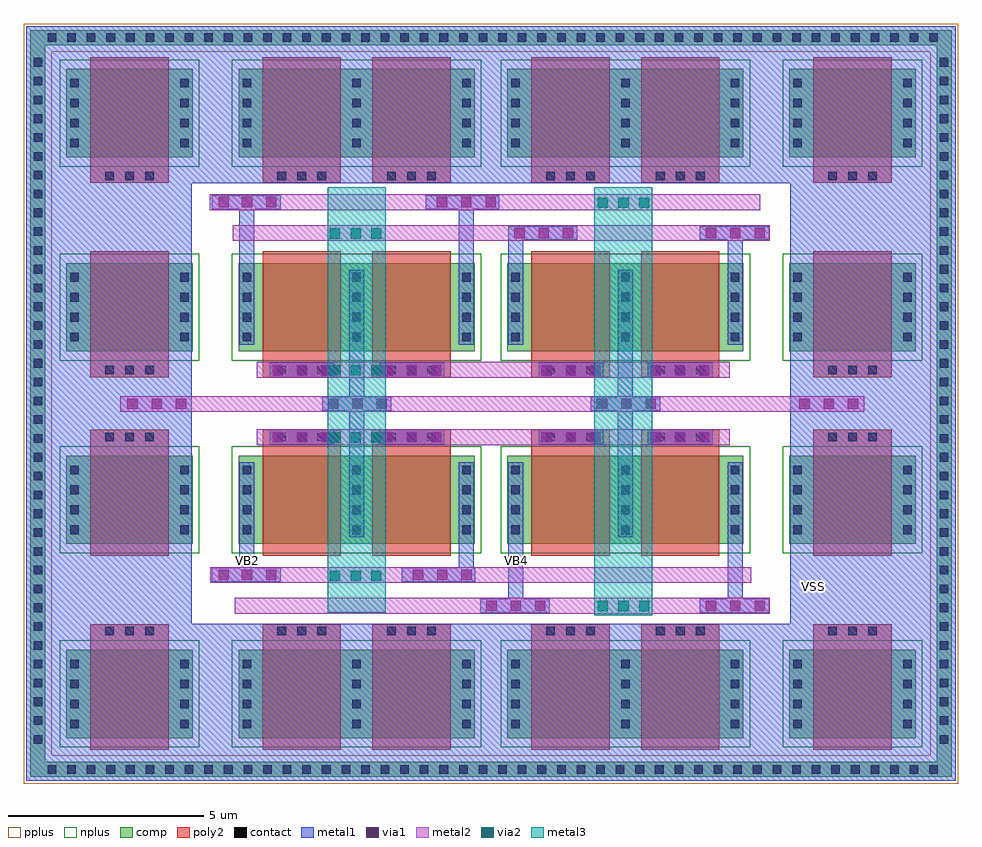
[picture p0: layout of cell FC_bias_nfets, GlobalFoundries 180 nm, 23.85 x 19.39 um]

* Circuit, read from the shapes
.subckt FC_bias_nfets VB2 VB4 VSS
XM1 VSS VSS VSS VSS nfet_03v3 w=2.25u l=2u m=16
XM2 VSS VB2 VB2 VSS nfet_03v3 w=2.25u l=2u m=4
XM3 VSS VB2 VB4 VSS nfet_03v3 w=2.25u l=2u m=4
.ends

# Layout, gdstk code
from math import pi, radians
import gdstk
lib = gdstk.Library(unit=1e-6, precision=1e-09)
def R(c, l, rs):  # rectangles x0, y0, x1, y1
    for r in rs: c.add(gdstk.rectangle(r[:2], r[2:], *l))
def A(c, l, x, y, w, h, nx, ny, dx, dy):  # array of equal rectangles
    R(c, l, [(x+i*dx, y+j*dy, x+i*dx+w, y+j*dy+h) for i in range(nx) for j in range(ny)])
comp = (22, 0)
poly2 = (30, 0)
pplus = (31, 0)
nplus = (32, 0)
contact = (33, 0)
metal1 = (34, 0)
via1 = (35, 0)
metal2 = (36, 0)
via2 = (38, 0)
metal3 = (42, 0)

nfet = lib.new_cell('nfet')
R(nfet, comp, [(-0.42,0,0,2.25), (0,0,2.38,2.25), (2.38,0,2.8,2.25)])
R(nfet, poly2, [(0.19,-0.3,2.19,2.55), (0.19,2.55,2.19,2.91)])
R(nfet, nplus, [(-0.59,-0.24,2.97,2.49)])
A(nfet, contact, -0.32, 0.25, 0.22, 0.22, 1, 4, 0, 0.51)
A(nfet, contact, 2.48, 0.25, 0.22, 0.22, 1, 4, 0, 0.51)
A(nfet, contact, 0.57, 2.62, 0.22, 0.22, 3, 1, 0.51, 0)
R(nfet, metal1, [(-0.4,0.17,-0.02,2.08), (2.4,0.17,2.78,2.08), (0.49,2.54,1.89,2.92)])

fc_bias_nfets = lib.new_cell('FC_bias_nfets')
R(fc_bias_nfets, comp, [(-55.115,0.065,-31.605,0.445), (-55.115,0.17,-54.735,19.065), (-31.985,0.17,-31.605,18.905), (-55.115,18.74,-31.605,19.12)])
R(fc_bias_nfets, pplus, [(-55.285,-0.105,-31.435,0.615), (-55.285,0.415,-54.565,19.195), (-32.155,0.415,-31.435,19.21), (-55.285,18.57,-31.435,19.29)])
A(fc_bias_nfets, contact, -54.675, 0.145, 0.22, 0.22, 46, 2, 0.5, 18.675)
A(fc_bias_nfets, contact, -55.035, 0.91, 0.22, 0.22, 1, 37, 0, 0.48)
A(fc_bias_nfets, contact, -31.905, 0.91, 0.22, 0.22, 1, 37, 0, 0.48)
R(fc_bias_nfets, metal1, [(-55.22,-0.04,-50.995,19.215), (-35.725,-0.04,-31.5,19.215), (-55.2,-0.03,-33.51,3.975), (-43.63,4.25,-41.865,4.605), (-43.63,4.25,-41.865,4.605), (-42.92,4.25,-42.54,5.985), (-42.92,4.25,-42.54,6.275), (-38.03,4.25,-36.265,4.605), (-38.03,4.25,-36.265,4.605), (-37.32,4.25,-36.94,5.985), (-37.32,4.25,-36.94,6.245), (-50.49,5.04,-48.725,5.395), (-50.49,5.04,-48.725,5.395), (-49.78,5.04,-49.4,6.775), (-49.78,5.04,-49.4,6.775), (-45.635,5.04,-43.765,5.395), (-44.18,5.04,-43.8,6.775), (-44.18,5.04,-43.8,6.775), (-46.98,7.875,-46.6,9.635), (-40.12,7.875,-39.74,9.635), (-49.005,8.55,-47.355,8.93), (-46.2,8.55,-44.55,8.93), (-42.145,8.55,-40.495,8.93), (-39.355,8.55,-37.705,8.93), (-52.795,9.405,-51.03,9.76), (-52.795,9.405,-51.03,9.76), (-47.67,9.405,-45.905,9.76), (-47.67,9.405,-45.905,9.76), (-40.81,9.405,-39.045,9.76), (-40.81,9.405,-39.045,9.76), (-35.645,9.405,-33.88,9.76), (-35.645,9.405,-33.88,9.76), (-40.12,9.475,-39.74,11.235), (-46.98,9.57,-46.6,11.33), (-49.005,10.255,-47.355,10.635), (-46.2,10.255,-44.55,10.635), (-42.145,10.255,-40.495,10.635), (-39.355,10.255,-37.705,10.635), (-37.32,12.025,-36.94,14.02), (-42.92,12.215,-42.54,14.095), (-44.18,12.88,-43.8,14.615), (-49.78,12.91,-49.4,14.645), (-42.92,13.765,-41.155,14.12), (-42.92,13.765,-41.155,14.12), (-38.03,13.765,-36.265,14.12), (-38.03,13.765,-36.265,14.12), (-50.49,14.555,-48.725,14.91), (-50.49,14.555,-48.725,14.91), (-45.02,14.555,-43.15,14.91), (-55.2,15.21,-33.51,19.215)])
R(fc_bias_nfets, via1, [(-43.475,4.3,-43.215,4.56), (-43.475,4.3,-43.215,4.56), (-43.475,4.3,-43.215,4.56), (-43.475,4.3,-43.215,4.56), (-43.475,4.3,-43.215,4.56), (-43.475,4.3,-43.215,4.56), (-43.475,4.3,-43.215,4.56), (-43.475,4.3,-43.215,4.56), (-43.475,4.3,-43.215,4.56), (-43.475,4.3,-43.215,4.56), (-43.475,4.3,-43.215,4.56), (-43.475,4.3,-43.215,4.56), (-43.475,4.3,-43.215,4.56), (-43.475,4.3,-43.215,4.56), (-43.475,4.3,-43.215,4.56), (-43.475,4.3,-43.215,4.56), (-42.855,4.3,-42.595,4.56), (-42.855,4.3,-42.595,4.56), (-42.855,4.3,-42.595,4.56), (-42.855,4.3,-42.595,4.56), (-42.855,4.3,-42.595,4.56), (-42.855,4.3,-42.595,4.56), (-42.855,4.3,-42.595,4.56), (-42.855,4.3,-42.595,4.56), (-42.855,4.3,-42.595,4.56), (-42.855,4.3,-42.595,4.56), (-42.855,4.3,-42.595,4.56), (-42.855,4.3,-42.595,4.56), (-42.855,4.3,-42.595,4.56), (-42.855,4.3,-42.595,4.56), (-42.855,4.3,-42.595,4.56), (-42.855,4.3,-42.595,4.56), (-42.235,4.3,-41.975,4.56), (-42.235,4.3,-41.975,4.56), (-42.235,4.3,-41.975,4.56), (-42.235,4.3,-41.975,4.56), (-42.235,4.3,-41.975,4.56), (-42.235,4.3,-41.975,4.56), (-42.235,4.3,-41.975,4.56), (-42.235,4.3,-41.975,4.56), (-42.235,4.3,-41.975,4.56), (-42.235,4.3,-41.975,4.56), (-42.235,4.3,-41.975,4.56), (-42.235,4.3,-41.975,4.56), (-42.235,4.3,-41.975,4.56), (-42.235,4.3,-41.975,4.56), (-42.235,4.3,-41.975,4.56), (-42.235,4.3,-41.975,4.56), (-37.875,4.3,-37.615,4.56), (-37.875,4.3,-37.615,4.56), (-37.875,4.3,-37.615,4.56), (-37.875,4.3,-37.615,4.56), (-37.875,4.3,-37.615,4.56), (-37.875,4.3,-37.615,4.56), (-37.875,4.3,-37.615,4.56), (-37.875,4.3,-37.615,4.56), (-37.875,4.3,-37.615,4.56), (-37.875,4.3,-37.615,4.56), (-37.875,4.3,-37.615,4.56), (-37.875,4.3,-37.615,4.56), (-37.875,4.3,-37.615,4.56), (-37.875,4.3,-37.615,4.56), (-37.875,4.3,-37.615,4.56), (-37.875,4.3,-37.615,4.56), (-37.255,4.3,-36.995,4.56), (-37.255,4.3,-36.995,4.56), (-37.255,4.3,-36.995,4.56), (-37.255,4.3,-36.995,4.56), (-37.255,4.3,-36.995,4.56), (-37.255,4.3,-36.995,4.56), (-37.255,4.3,-36.995,4.56), (-37.255,4.3,-36.995,4.56), (-37.255,4.3,-36.995,4.56), (-37.255,4.3,-36.995,4.56), (-37.255,4.3,-36.995,4.56), (-37.255,4.3,-36.995,4.56), (-37.255,4.3,-36.995,4.56), (-37.255,4.3,-36.995,4.56), (-37.255,4.3,-36.995,4.56), (-37.255,4.3,-36.995,4.56), (-36.635,4.3,-36.375,4.56), (-36.635,4.3,-36.375,4.56), (-36.635,4.3,-36.375,4.56), (-36.635,4.3,-36.375,4.56), (-36.635,4.3,-36.375,4.56), (-36.635,4.3,-36.375,4.56), (-36.635,4.3,-36.375,4.56), (-36.635,4.3,-36.375,4.56), (-36.635,4.3,-36.375,4.56), (-36.635,4.3,-36.375,4.56), (-36.635,4.3,-36.375,4.56), (-36.635,4.3,-36.375,4.56), (-36.635,4.3,-36.375,4.56), (-36.635,4.3,-36.375,4.56), (-36.635,4.3,-36.375,4.56), (-36.635,4.3,-36.375,4.56), (-50.31,5.09,-50.05,5.35), (-50.31,5.09,-50.05,5.35), (-50.31,5.09,-50.05,5.35), (-50.31,5.09,-50.05,5.35), (-50.31,5.09,-50.05,5.35), (-50.31,5.09,-50.05,5.35), (-50.31,5.09,-50.05,5.35), (-50.31,5.09,-50.05,5.35), (-50.31,5.09,-50.05,5.35), (-50.31,5.09,-50.05,5.35), (-50.31,5.09,-50.05,5.35), (-50.31,5.09,-50.05,5.35), (-50.31,5.09,-50.05,5.35), (-50.31,5.09,-50.05,5.35), (-50.31,5.09,-50.05,5.35), (-50.31,5.09,-50.05,5.35), (-49.715,5.09,-49.455,5.35), (-49.715,5.09,-49.455,5.35), (-49.715,5.09,-49.455,5.35), (-49.715,5.09,-49.455,5.35), (-49.715,5.09,-49.455,5.35), (-49.715,5.09,-49.455,5.35), (-49.715,5.09,-49.455,5.35), (-49.715,5.09,-49.455,5.35), (-49.715,5.09,-49.455,5.35), (-49.715,5.09,-49.455,5.35), (-49.715,5.09,-49.455,5.35), (-49.715,5.09,-49.455,5.35), (-49.715,5.09,-49.455,5.35), (-49.715,5.09,-49.455,5.35), (-49.715,5.09,-49.455,5.35), (-49.715,5.09,-49.455,5.35), (-49.095,5.09,-48.835,5.35), (-49.095,5.09,-48.835,5.35), (-49.095,5.09,-48.835,5.35), (-49.095,5.09,-48.835,5.35), (-49.095,5.09,-48.835,5.35), (-49.095,5.09,-48.835,5.35), (-49.095,5.09,-48.835,5.35), (-49.095,5.09,-48.835,5.35), (-49.095,5.09,-48.835,5.35), (-49.095,5.09,-48.835,5.35), (-49.095,5.09,-48.835,5.35), (-49.095,5.09,-48.835,5.35), (-49.095,5.09,-48.835,5.35), (-49.095,5.09,-48.835,5.35), (-49.095,5.09,-48.835,5.35), (-49.095,5.09,-48.835,5.35), (-45.355,5.09,-45.095,5.35), (-44.735,5.09,-44.475,5.35), (-44.735,5.09,-44.475,5.35), (-44.735,5.09,-44.475,5.35), (-44.735,5.09,-44.475,5.35), (-44.735,5.09,-44.475,5.35), (-44.735,5.09,-44.475,5.35), (-44.735,5.09,-44.475,5.35), (-44.735,5.09,-44.475,5.35), (-44.735,5.09,-44.475,5.35), (-44.735,5.09,-44.475,5.35), (-44.735,5.09,-44.475,5.35), (-44.735,5.09,-44.475,5.35), (-44.735,5.09,-44.475,5.35), (-44.735,5.09,-44.475,5.35), (-44.735,5.09,-44.475,5.35), (-44.735,5.09,-44.475,5.35), (-44.115,5.09,-43.855,5.35), (-44.115,5.09,-43.855,5.35), (-44.115,5.09,-43.855,5.35), (-44.115,5.09,-43.855,5.35), (-44.115,5.09,-43.855,5.35), (-44.115,5.09,-43.855,5.35), (-44.115,5.09,-43.855,5.35), (-44.115,5.09,-43.855,5.35), (-44.115,5.09,-43.855,5.35), (-44.115,5.09,-43.855,5.35), (-44.115,5.09,-43.855,5.35), (-44.115,5.09,-43.855,5.35), (-44.115,5.09,-43.855,5.35), (-44.115,5.09,-43.855,5.35), (-44.115,5.09,-43.855,5.35), (-44.115,5.09,-43.855,5.35), (-48.935,8.6,-48.675,8.86), (-48.935,8.6,-48.675,8.86), (-48.935,8.6,-48.675,8.86), (-48.935,8.6,-48.675,8.86), (-48.935,8.6,-48.675,8.86), (-48.935,8.6,-48.675,8.86), (-48.935,8.6,-48.675,8.86), (-48.935,8.6,-48.675,8.86), (-48.315,8.6,-48.055,8.86), (-48.315,8.6,-48.055,8.86), (-48.315,8.6,-48.055,8.86), (-48.315,8.6,-48.055,8.86), (-48.315,8.6,-48.055,8.86), (-48.315,8.6,-48.055,8.86), (-48.315,8.6,-48.055,8.86), (-48.315,8.6,-48.055,8.86), (-47.695,8.6,-47.435,8.86), (-47.695,8.6,-47.435,8.86), (-47.695,8.6,-47.435,8.86), (-47.695,8.6,-47.435,8.86), (-47.695,8.6,-47.435,8.86), (-47.695,8.6,-47.435,8.86), (-47.695,8.6,-47.435,8.86), (-47.695,8.6,-47.435,8.86), (-46.13,8.6,-45.87,8.86), (-46.13,8.6,-45.87,8.86), (-46.13,8.6,-45.87,8.86), (-46.13,8.6,-45.87,8.86), (-46.13,8.6,-45.87,8.86), (-46.13,8.6,-45.87,8.86), (-46.13,8.6,-45.87,8.86), (-46.13,8.6,-45.87,8.86), (-45.51,8.6,-45.25,8.86), (-45.51,8.6,-45.25,8.86), (-45.51,8.6,-45.25,8.86), (-45.51,8.6,-45.25,8.86), (-45.51,8.6,-45.25,8.86), (-45.51,8.6,-45.25,8.86), (-45.51,8.6,-45.25,8.86), (-45.51,8.6,-45.25,8.86), (-44.89,8.6,-44.63,8.86), (-44.89,8.6,-44.63,8.86), (-44.89,8.6,-44.63,8.86), (-44.89,8.6,-44.63,8.86), (-44.89,8.6,-44.63,8.86), (-44.89,8.6,-44.63,8.86), (-44.89,8.6,-44.63,8.86), (-44.89,8.6,-44.63,8.86), (-42.075,8.6,-41.815,8.86), (-42.075,8.6,-41.815,8.86), (-42.075,8.6,-41.815,8.86), (-42.075,8.6,-41.815,8.86), (-42.075,8.6,-41.815,8.86), (-42.075,8.6,-41.815,8.86), (-42.075,8.6,-41.815,8.86), (-42.075,8.6,-41.815,8.86), (-41.455,8.6,-41.195,8.86), (-41.455,8.6,-41.195,8.86), (-41.455,8.6,-41.195,8.86), (-41.455,8.6,-41.195,8.86), (-41.455,8.6,-41.195,8.86), (-41.455,8.6,-41.195,8.86), (-41.455,8.6,-41.195,8.86), (-41.455,8.6,-41.195,8.86), (-40.835,8.6,-40.575,8.86), (-40.835,8.6,-40.575,8.86), (-40.835,8.6,-40.575,8.86), (-40.835,8.6,-40.575,8.86), (-40.835,8.6,-40.575,8.86), (-40.835,8.6,-40.575,8.86), (-40.835,8.6,-40.575,8.86), (-40.835,8.6,-40.575,8.86), (-39.285,8.6,-39.025,8.86), (-39.285,8.6,-39.025,8.86), (-39.285,8.6,-39.025,8.86), (-39.285,8.6,-39.025,8.86), (-39.285,8.6,-39.025,8.86), (-39.285,8.6,-39.025,8.86), (-39.285,8.6,-39.025,8.86), (-39.285,8.6,-39.025,8.86), (-38.665,8.6,-38.405,8.86), (-38.665,8.6,-38.405,8.86), (-38.665,8.6,-38.405,8.86), (-38.665,8.6,-38.405,8.86), (-38.665,8.6,-38.405,8.86), (-38.665,8.6,-38.405,8.86), (-38.665,8.6,-38.405,8.86), (-38.665,8.6,-38.405,8.86), (-38.045,8.6,-37.785,8.86), (-38.045,8.6,-37.785,8.86), (-38.045,8.6,-37.785,8.86), (-38.045,8.6,-37.785,8.86), (-38.045,8.6,-37.785,8.86), (-38.045,8.6,-37.785,8.86), (-38.045,8.6,-37.785,8.86), (-38.045,8.6,-37.785,8.86), (-52.64,9.455,-52.38,9.715), (-52.64,9.455,-52.38,9.715), (-52.64,9.455,-52.38,9.715), (-52.64,9.455,-52.38,9.715), (-52.64,9.455,-52.38,9.715), (-52.64,9.455,-52.38,9.715), (-52.64,9.455,-52.38,9.715), (-52.64,9.455,-52.38,9.715), (-52.64,9.455,-52.38,9.715), (-52.64,9.455,-52.38,9.715), (-52.64,9.455,-52.38,9.715), (-52.64,9.455,-52.38,9.715), (-52.64,9.455,-52.38,9.715), (-52.64,9.455,-52.38,9.715), (-52.64,9.455,-52.38,9.715), (-52.64,9.455,-52.38,9.715), (-52.02,9.455,-51.76,9.715), (-52.02,9.455,-51.76,9.715), (-52.02,9.455,-51.76,9.715), (-52.02,9.455,-51.76,9.715), (-52.02,9.455,-51.76,9.715), (-52.02,9.455,-51.76,9.715), (-52.02,9.455,-51.76,9.715), (-52.02,9.455,-51.76,9.715), (-52.02,9.455,-51.76,9.715), (-52.02,9.455,-51.76,9.715), (-52.02,9.455,-51.76,9.715), (-52.02,9.455,-51.76,9.715), (-52.02,9.455,-51.76,9.715), (-52.02,9.455,-51.76,9.715), (-52.02,9.455,-51.76,9.715), (-52.02,9.455,-51.76,9.715), (-51.4,9.455,-51.14,9.715), (-51.4,9.455,-51.14,9.715), (-51.4,9.455,-51.14,9.715), (-51.4,9.455,-51.14,9.715), (-51.4,9.455,-51.14,9.715), (-51.4,9.455,-51.14,9.715), (-51.4,9.455,-51.14,9.715), (-51.4,9.455,-51.14,9.715), (-51.4,9.455,-51.14,9.715), (-51.4,9.455,-51.14,9.715), (-51.4,9.455,-51.14,9.715), (-51.4,9.455,-51.14,9.715), (-51.4,9.455,-51.14,9.715), (-51.4,9.455,-51.14,9.715), (-51.4,9.455,-51.14,9.715), (-51.4,9.455,-51.14,9.715), (-47.515,9.455,-47.255,9.715), (-47.515,9.455,-47.255,9.715), (-47.515,9.455,-47.255,9.715), (-47.515,9.455,-47.255,9.715), (-47.515,9.455,-47.255,9.715), (-47.515,9.455,-47.255,9.715), (-47.515,9.455,-47.255,9.715), (-47.515,9.455,-47.255,9.715), (-47.515,9.455,-47.255,9.715), (-47.515,9.455,-47.255,9.715), (-47.515,9.455,-47.255,9.715), (-47.515,9.455,-47.255,9.715), (-47.515,9.455,-47.255,9.715), (-47.515,9.455,-47.255,9.715), (-47.515,9.455,-47.255,9.715), (-47.515,9.455,-47.255,9.715), (-46.895,9.455,-46.635,9.715), (-46.895,9.455,-46.635,9.715), (-46.895,9.455,-46.635,9.715), (-46.895,9.455,-46.635,9.715), (-46.895,9.455,-46.635,9.715), (-46.895,9.455,-46.635,9.715), (-46.895,9.455,-46.635,9.715), (-46.895,9.455,-46.635,9.715), (-46.895,9.455,-46.635,9.715), (-46.895,9.455,-46.635,9.715), (-46.895,9.455,-46.635,9.715), (-46.895,9.455,-46.635,9.715), (-46.895,9.455,-46.635,9.715), (-46.895,9.455,-46.635,9.715), (-46.895,9.455,-46.635,9.715), (-46.895,9.455,-46.635,9.715), (-46.275,9.455,-46.015,9.715), (-46.275,9.455,-46.015,9.715), (-46.275,9.455,-46.015,9.715), (-46.275,9.455,-46.015,9.715), (-46.275,9.455,-46.015,9.715), (-46.275,9.455,-46.015,9.715), (-46.275,9.455,-46.015,9.715), (-46.275,9.455,-46.015,9.715), (-46.275,9.455,-46.015,9.715), (-46.275,9.455,-46.015,9.715), (-46.275,9.455,-46.015,9.715), (-46.275,9.455,-46.015,9.715), (-46.275,9.455,-46.015,9.715), (-46.275,9.455,-46.015,9.715), (-46.275,9.455,-46.015,9.715), (-46.275,9.455,-46.015,9.715), (-40.655,9.455,-40.395,9.715), (-40.655,9.455,-40.395,9.715), (-40.655,9.455,-40.395,9.715), (-40.655,9.455,-40.395,9.715), (-40.655,9.455,-40.395,9.715), (-40.655,9.455,-40.395,9.715), (-40.655,9.455,-40.395,9.715), (-40.655,9.455,-40.395,9.715), (-40.655,9.455,-40.395,9.715), (-40.655,9.455,-40.395,9.715), (-40.655,9.455,-40.395,9.715), (-40.655,9.455,-40.395,9.715), (-40.655,9.455,-40.395,9.715), (-40.655,9.455,-40.395,9.715), (-40.655,9.455,-40.395,9.715), (-40.655,9.455,-40.395,9.715), (-40.035,9.455,-39.775,9.715), (-40.035,9.455,-39.775,9.715), (-40.035,9.455,-39.775,9.715), (-40.035,9.455,-39.775,9.715), (-40.035,9.455,-39.775,9.715), (-40.035,9.455,-39.775,9.715), (-40.035,9.455,-39.775,9.715), (-40.035,9.455,-39.775,9.715), (-40.035,9.455,-39.775,9.715), (-40.035,9.455,-39.775,9.715), (-40.035,9.455,-39.775,9.715), (-40.035,9.455,-39.775,9.715), (-40.035,9.455,-39.775,9.715), (-40.035,9.455,-39.775,9.715), (-40.035,9.455,-39.775,9.715), (-40.035,9.455,-39.775,9.715), (-39.415,9.455,-39.155,9.715), (-39.415,9.455,-39.155,9.715), (-39.415,9.455,-39.155,9.715), (-39.415,9.455,-39.155,9.715), (-39.415,9.455,-39.155,9.715), (-39.415,9.455,-39.155,9.715), (-39.415,9.455,-39.155,9.715), (-39.415,9.455,-39.155,9.715), (-39.415,9.455,-39.155,9.715), (-39.415,9.455,-39.155,9.715), (-39.415,9.455,-39.155,9.715), (-39.415,9.455,-39.155,9.715), (-39.415,9.455,-39.155,9.715), (-39.415,9.455,-39.155,9.715), (-39.415,9.455,-39.155,9.715), (-39.415,9.455,-39.155,9.715), (-35.49,9.455,-35.23,9.715), (-35.49,9.455,-35.23,9.715), (-35.49,9.455,-35.23,9.715), (-35.49,9.455,-35.23,9.715), (-35.49,9.455,-35.23,9.715), (-35.49,9.455,-35.23,9.715), (-35.49,9.455,-35.23,9.715), (-35.49,9.455,-35.23,9.715), (-35.49,9.455,-35.23,9.715), (-35.49,9.455,-35.23,9.715), (-35.49,9.455,-35.23,9.715), (-35.49,9.455,-35.23,9.715), (-35.49,9.455,-35.23,9.715), (-35.49,9.455,-35.23,9.715), (-35.49,9.455,-35.23,9.715), (-35.49,9.455,-35.23,9.715), (-34.87,9.455,-34.61,9.715), (-34.87,9.455,-34.61,9.715), (-34.87,9.455,-34.61,9.715), (-34.87,9.455,-34.61,9.715), (-34.87,9.455,-34.61,9.715), (-34.87,9.455,-34.61,9.715), (-34.87,9.455,-34.61,9.715), (-34.87,9.455,-34.61,9.715), (-34.87,9.455,-34.61,9.715), (-34.87,9.455,-34.61,9.715), (-34.87,9.455,-34.61,9.715), (-34.87,9.455,-34.61,9.715), (-34.87,9.455,-34.61,9.715), (-34.87,9.455,-34.61,9.715), (-34.87,9.455,-34.61,9.715), (-34.87,9.455,-34.61,9.715), (-34.25,9.455,-33.99,9.715), (-34.25,9.455,-33.99,9.715), (-34.25,9.455,-33.99,9.715), (-34.25,9.455,-33.99,9.715), (-34.25,9.455,-33.99,9.715), (-34.25,9.455,-33.99,9.715), (-34.25,9.455,-33.99,9.715), (-34.25,9.455,-33.99,9.715), (-34.25,9.455,-33.99,9.715), (-34.25,9.455,-33.99,9.715), (-34.25,9.455,-33.99,9.715), (-34.25,9.455,-33.99,9.715), (-34.25,9.455,-33.99,9.715), (-34.25,9.455,-33.99,9.715), (-34.25,9.455,-33.99,9.715), (-34.25,9.455,-33.99,9.715), (-48.935,10.305,-48.675,10.565), (-48.935,10.305,-48.675,10.565), (-48.935,10.305,-48.675,10.565), (-48.935,10.305,-48.675,10.565), (-48.935,10.305,-48.675,10.565), (-48.935,10.305,-48.675,10.565), (-48.935,10.305,-48.675,10.565), (-48.935,10.305,-48.675,10.565), (-48.315,10.305,-48.055,10.565), (-48.315,10.305,-48.055,10.565), (-48.315,10.305,-48.055,10.565), (-48.315,10.305,-48.055,10.565), (-48.315,10.305,-48.055,10.565), (-48.315,10.305,-48.055,10.565), (-48.315,10.305,-48.055,10.565), (-48.315,10.305,-48.055,10.565), (-47.695,10.305,-47.435,10.565), (-47.695,10.305,-47.435,10.565), (-47.695,10.305,-47.435,10.565), (-47.695,10.305,-47.435,10.565), (-47.695,10.305,-47.435,10.565), (-47.695,10.305,-47.435,10.565), (-47.695,10.305,-47.435,10.565), (-47.695,10.305,-47.435,10.565), (-46.13,10.305,-45.87,10.565), (-46.13,10.305,-45.87,10.565), (-46.13,10.305,-45.87,10.565), (-46.13,10.305,-45.87,10.565), (-46.13,10.305,-45.87,10.565), (-46.13,10.305,-45.87,10.565), (-46.13,10.305,-45.87,10.565), (-46.13,10.305,-45.87,10.565), (-45.51,10.305,-45.25,10.565), (-45.51,10.305,-45.25,10.565), (-45.51,10.305,-45.25,10.565), (-45.51,10.305,-45.25,10.565), (-45.51,10.305,-45.25,10.565), (-45.51,10.305,-45.25,10.565), (-45.51,10.305,-45.25,10.565), (-45.51,10.305,-45.25,10.565), (-44.89,10.305,-44.63,10.565), (-44.89,10.305,-44.63,10.565), (-44.89,10.305,-44.63,10.565), (-44.89,10.305,-44.63,10.565), (-44.89,10.305,-44.63,10.565), (-44.89,10.305,-44.63,10.565), (-44.89,10.305,-44.63,10.565), (-44.89,10.305,-44.63,10.565), (-42.075,10.305,-41.815,10.565), (-42.075,10.305,-41.815,10.565), (-42.075,10.305,-41.815,10.565), (-42.075,10.305,-41.815,10.565), (-42.075,10.305,-41.815,10.565), (-42.075,10.305,-41.815,10.565), (-42.075,10.305,-41.815,10.565), (-42.075,10.305,-41.815,10.565), (-41.455,10.305,-41.195,10.565), (-41.455,10.305,-41.195,10.565), (-41.455,10.305,-41.195,10.565), (-41.455,10.305,-41.195,10.565), (-41.455,10.305,-41.195,10.565), (-41.455,10.305,-41.195,10.565), (-41.455,10.305,-41.195,10.565), (-41.455,10.305,-41.195,10.565), (-40.835,10.305,-40.575,10.565), (-40.835,10.305,-40.575,10.565), (-40.835,10.305,-40.575,10.565), (-40.835,10.305,-40.575,10.565), (-40.835,10.305,-40.575,10.565), (-40.835,10.305,-40.575,10.565), (-40.835,10.305,-40.575,10.565), (-40.835,10.305,-40.575,10.565), (-39.285,10.305,-39.025,10.565), (-39.285,10.305,-39.025,10.565), (-39.285,10.305,-39.025,10.565), (-39.285,10.305,-39.025,10.565), (-39.285,10.305,-39.025,10.565), (-39.285,10.305,-39.025,10.565), (-39.285,10.305,-39.025,10.565), (-39.285,10.305,-39.025,10.565), (-38.665,10.305,-38.405,10.565), (-38.665,10.305,-38.405,10.565), (-38.665,10.305,-38.405,10.565), (-38.665,10.305,-38.405,10.565), (-38.665,10.305,-38.405,10.565), (-38.665,10.305,-38.405,10.565), (-38.665,10.305,-38.405,10.565), (-38.665,10.305,-38.405,10.565), (-38.045,10.305,-37.785,10.565), (-38.045,10.305,-37.785,10.565), (-38.045,10.305,-37.785,10.565), (-38.045,10.305,-37.785,10.565), (-38.045,10.305,-37.785,10.565), (-38.045,10.305,-37.785,10.565), (-38.045,10.305,-37.785,10.565), (-38.045,10.305,-37.785,10.565), (-42.765,13.815,-42.505,14.075), (-42.765,13.815,-42.505,14.075), (-42.765,13.815,-42.505,14.075), (-42.765,13.815,-42.505,14.075), (-42.765,13.815,-42.505,14.075), (-42.765,13.815,-42.505,14.075), (-42.765,13.815,-42.505,14.075), (-42.765,13.815,-42.505,14.075), (-42.765,13.815,-42.505,14.075), (-42.765,13.815,-42.505,14.075), (-42.765,13.815,-42.505,14.075), (-42.765,13.815,-42.505,14.075), (-42.765,13.815,-42.505,14.075), (-42.765,13.815,-42.505,14.075), (-42.765,13.815,-42.505,14.075), (-42.765,13.815,-42.505,14.075), (-42.145,13.815,-41.885,14.075), (-42.145,13.815,-41.885,14.075), (-42.145,13.815,-41.885,14.075), (-42.145,13.815,-41.885,14.075), (-42.145,13.815,-41.885,14.075), (-42.145,13.815,-41.885,14.075), (-42.145,13.815,-41.885,14.075), (-42.145,13.815,-41.885,14.075), (-42.145,13.815,-41.885,14.075), (-42.145,13.815,-41.885,14.075), (-42.145,13.815,-41.885,14.075), (-42.145,13.815,-41.885,14.075), (-42.145,13.815,-41.885,14.075), (-42.145,13.815,-41.885,14.075), (-42.145,13.815,-41.885,14.075), (-42.145,13.815,-41.885,14.075), (-41.525,13.815,-41.265,14.075), (-41.525,13.815,-41.265,14.075), (-41.525,13.815,-41.265,14.075), (-41.525,13.815,-41.265,14.075), (-41.525,13.815,-41.265,14.075), (-41.525,13.815,-41.265,14.075), (-41.525,13.815,-41.265,14.075), (-41.525,13.815,-41.265,14.075), (-41.525,13.815,-41.265,14.075), (-41.525,13.815,-41.265,14.075), (-41.525,13.815,-41.265,14.075), (-41.525,13.815,-41.265,14.075), (-41.525,13.815,-41.265,14.075), (-41.525,13.815,-41.265,14.075), (-41.525,13.815,-41.265,14.075), (-41.525,13.815,-41.265,14.075), (-37.875,13.815,-37.615,14.075), (-37.875,13.815,-37.615,14.075), (-37.875,13.815,-37.615,14.075), (-37.875,13.815,-37.615,14.075), (-37.875,13.815,-37.615,14.075), (-37.875,13.815,-37.615,14.075), (-37.875,13.815,-37.615,14.075), (-37.875,13.815,-37.615,14.075), (-37.875,13.815,-37.615,14.075), (-37.875,13.815,-37.615,14.075), (-37.875,13.815,-37.615,14.075), (-37.875,13.815,-37.615,14.075), (-37.875,13.815,-37.615,14.075), (-37.875,13.815,-37.615,14.075), (-37.875,13.815,-37.615,14.075), (-37.875,13.815,-37.615,14.075), (-37.255,13.815,-36.995,14.075), (-37.255,13.815,-36.995,14.075), (-37.255,13.815,-36.995,14.075), (-37.255,13.815,-36.995,14.075), (-37.255,13.815,-36.995,14.075), (-37.255,13.815,-36.995,14.075), (-37.255,13.815,-36.995,14.075), (-37.255,13.815,-36.995,14.075), (-37.255,13.815,-36.995,14.075), (-37.255,13.815,-36.995,14.075), (-37.255,13.815,-36.995,14.075), (-37.255,13.815,-36.995,14.075), (-37.255,13.815,-36.995,14.075), (-37.255,13.815,-36.995,14.075), (-37.255,13.815,-36.995,14.075), (-37.255,13.815,-36.995,14.075), (-36.635,13.815,-36.375,14.075), (-36.635,13.815,-36.375,14.075), (-36.635,13.815,-36.375,14.075), (-36.635,13.815,-36.375,14.075), (-36.635,13.815,-36.375,14.075), (-36.635,13.815,-36.375,14.075), (-36.635,13.815,-36.375,14.075), (-36.635,13.815,-36.375,14.075), (-36.635,13.815,-36.375,14.075), (-36.635,13.815,-36.375,14.075), (-36.635,13.815,-36.375,14.075), (-36.635,13.815,-36.375,14.075), (-36.635,13.815,-36.375,14.075), (-36.635,13.815,-36.375,14.075), (-36.635,13.815,-36.375,14.075), (-36.635,13.815,-36.375,14.075), (-50.31,14.605,-50.05,14.865), (-50.31,14.605,-50.05,14.865), (-50.31,14.605,-50.05,14.865), (-50.31,14.605,-50.05,14.865), (-50.31,14.605,-50.05,14.865), (-50.31,14.605,-50.05,14.865), (-50.31,14.605,-50.05,14.865), (-50.31,14.605,-50.05,14.865), (-50.31,14.605,-50.05,14.865), (-50.31,14.605,-50.05,14.865), (-50.31,14.605,-50.05,14.865), (-50.31,14.605,-50.05,14.865), (-50.31,14.605,-50.05,14.865), (-50.31,14.605,-50.05,14.865), (-50.31,14.605,-50.05,14.865), (-50.31,14.605,-50.05,14.865), (-49.715,14.605,-49.455,14.865), (-49.715,14.605,-49.455,14.865), (-49.715,14.605,-49.455,14.865), (-49.715,14.605,-49.455,14.865), (-49.715,14.605,-49.455,14.865), (-49.715,14.605,-49.455,14.865), (-49.715,14.605,-49.455,14.865), (-49.715,14.605,-49.455,14.865), (-49.715,14.605,-49.455,14.865), (-49.715,14.605,-49.455,14.865), (-49.715,14.605,-49.455,14.865), (-49.715,14.605,-49.455,14.865), (-49.715,14.605,-49.455,14.865), (-49.715,14.605,-49.455,14.865), (-49.715,14.605,-49.455,14.865), (-49.715,14.605,-49.455,14.865), (-49.095,14.605,-48.835,14.865), (-49.095,14.605,-48.835,14.865), (-49.095,14.605,-48.835,14.865), (-49.095,14.605,-48.835,14.865), (-49.095,14.605,-48.835,14.865), (-49.095,14.605,-48.835,14.865), (-49.095,14.605,-48.835,14.865), (-49.095,14.605,-48.835,14.865), (-49.095,14.605,-48.835,14.865), (-49.095,14.605,-48.835,14.865), (-49.095,14.605,-48.835,14.865), (-49.095,14.605,-48.835,14.865), (-49.095,14.605,-48.835,14.865), (-49.095,14.605,-48.835,14.865), (-49.095,14.605,-48.835,14.865), (-49.095,14.605,-48.835,14.865), (-44.74,14.605,-44.48,14.865), (-44.12,14.605,-43.86,14.865), (-44.12,14.605,-43.86,14.865), (-44.12,14.605,-43.86,14.865), (-44.12,14.605,-43.86,14.865), (-44.12,14.605,-43.86,14.865), (-44.12,14.605,-43.86,14.865), (-44.12,14.605,-43.86,14.865), (-44.12,14.605,-43.86,14.865), (-44.12,14.605,-43.86,14.865), (-44.12,14.605,-43.86,14.865), (-44.12,14.605,-43.86,14.865), (-44.12,14.605,-43.86,14.865), (-44.12,14.605,-43.86,14.865), (-44.12,14.605,-43.86,14.865), (-44.12,14.605,-43.86,14.865), (-44.12,14.605,-43.86,14.865), (-43.5,14.605,-43.24,14.865), (-43.5,14.605,-43.24,14.865), (-43.5,14.605,-43.24,14.865), (-43.5,14.605,-43.24,14.865), (-43.5,14.605,-43.24,14.865), (-43.5,14.605,-43.24,14.865), (-43.5,14.605,-43.24,14.865), (-43.5,14.605,-43.24,14.865), (-43.5,14.605,-43.24,14.865), (-43.5,14.605,-43.24,14.865), (-43.5,14.605,-43.24,14.865), (-43.5,14.605,-43.24,14.865), (-43.5,14.605,-43.24,14.865), (-43.5,14.605,-43.24,14.865), (-43.5,14.605,-43.24,14.865), (-43.5,14.605,-43.24,14.865)])
R(fc_bias_nfets, metal2, [(-49.9,4.23,-36.24,4.63), (-50.525,5.015,-36.715,5.415), (-49.335,8.53,-37.27,8.93), (-52.82,9.38,-33.84,9.78), (-49.335,10.255,-37.27,10.655), (-49.945,13.745,-36.24,14.145), (-50.535,14.53,-36.485,14.93)])
R(fc_bias_nfets, via2, [(-40.64,4.295,-40.38,4.555), (-40.64,4.295,-40.38,4.555), (-40.11,4.295,-39.85,4.555), (-40.11,4.295,-39.85,4.555), (-39.58,4.295,-39.32,4.555), (-39.58,4.295,-39.32,4.555), (-47.475,5.07,-47.215,5.33), (-47.475,5.07,-47.215,5.33), (-46.945,5.07,-46.685,5.33), (-46.945,5.07,-46.685,5.33), (-46.415,5.07,-46.155,5.33), (-46.415,5.07,-46.155,5.33), (-47.475,8.595,-47.215,8.855), (-47.475,8.595,-47.215,8.855), (-46.945,8.595,-46.685,8.855), (-46.945,8.595,-46.685,8.855), (-46.415,8.595,-46.155,8.855), (-46.415,8.595,-46.155,8.855), (-47.475,10.315,-47.215,10.575), (-47.475,10.315,-47.215,10.575), (-46.945,10.315,-46.685,10.575), (-46.945,10.315,-46.685,10.575), (-46.415,10.315,-46.155,10.575), (-46.415,10.315,-46.155,10.575), (-47.475,13.8,-47.215,14.06), (-47.475,13.8,-47.215,14.06), (-46.945,13.8,-46.685,14.06), (-46.945,13.8,-46.685,14.06), (-46.415,13.8,-46.155,14.06), (-46.415,13.8,-46.155,14.06), (-40.64,14.585,-40.38,14.845), (-40.64,14.585,-40.38,14.845), (-40.11,14.585,-39.85,14.845), (-40.11,14.585,-39.85,14.845), (-39.58,14.585,-39.32,14.845), (-39.58,14.585,-39.32,14.845)])
R(fc_bias_nfets, metal3, [(-40.73,4.19,-39.25,15.105), (-47.53,4.25,-46.05,15.105)])
fc_bias_nfets.add(gdstk.Reference(nfet, (-49.38,6.01)))
fc_bias_nfets.add(gdstk.Reference(nfet, (-46.58,6.01)))
fc_bias_nfets.add(gdstk.Reference(nfet, (-42.52,6.01)))
fc_bias_nfets.add(gdstk.Reference(nfet, (-39.72,6.01)))
fc_bias_nfets.add(gdstk.Reference(nfet, (-37.34,13.175), rotation=pi))
fc_bias_nfets.add(gdstk.Reference(nfet, (-40.14,13.175), rotation=pi))
fc_bias_nfets.add(gdstk.Reference(nfet, (-44.2,13.175), rotation=pi))
fc_bias_nfets.add(gdstk.Reference(nfet, (-47,13.175), rotation=pi))
fc_bias_nfets.add(gdstk.Reference(nfet, (-49.38,1.055)))
fc_bias_nfets.add(gdstk.Reference(nfet, (-46.58,1.055)))
fc_bias_nfets.add(gdstk.Reference(nfet, (-42.52,1.055)))
fc_bias_nfets.add(gdstk.Reference(nfet, (-39.72,1.055)))
fc_bias_nfets.add(gdstk.Reference(nfet, (-37.34,18.13), rotation=pi))
fc_bias_nfets.add(gdstk.Reference(nfet, (-40.14,18.13), rotation=pi))
fc_bias_nfets.add(gdstk.Reference(nfet, (-44.2,18.13), rotation=pi))
fc_bias_nfets.add(gdstk.Reference(nfet, (-47,18.13), rotation=pi))
fc_bias_nfets.add(gdstk.Reference(nfet, (-35.325,6.01)))
fc_bias_nfets.add(gdstk.Reference(nfet, (-32.945,13.175), rotation=pi))
fc_bias_nfets.add(gdstk.Reference(nfet, (-35.325,1.055)))
fc_bias_nfets.add(gdstk.Reference(nfet, (-32.945,18.13), rotation=pi))
fc_bias_nfets.add(gdstk.Reference(nfet, (-53.775,6.01)))
fc_bias_nfets.add(gdstk.Reference(nfet, (-51.395,13.175), rotation=pi))
fc_bias_nfets.add(gdstk.Reference(nfet, (-53.775,1.055)))
fc_bias_nfets.add(gdstk.Reference(nfet, (-51.395,18.13), rotation=pi))
fc_bias_nfets.add(gdstk.Label('VSS', (-35.14,4.93), layer=34, texttype=10))
fc_bias_nfets.add(gdstk.Label('VB2', (-49.58,5.58), layer=34, texttype=10))
fc_bias_nfets.add(gdstk.Label('VB4', (-42.7,5.58), layer=34, texttype=10))

lib.write_gds('FC_bias_nfets.gds')
